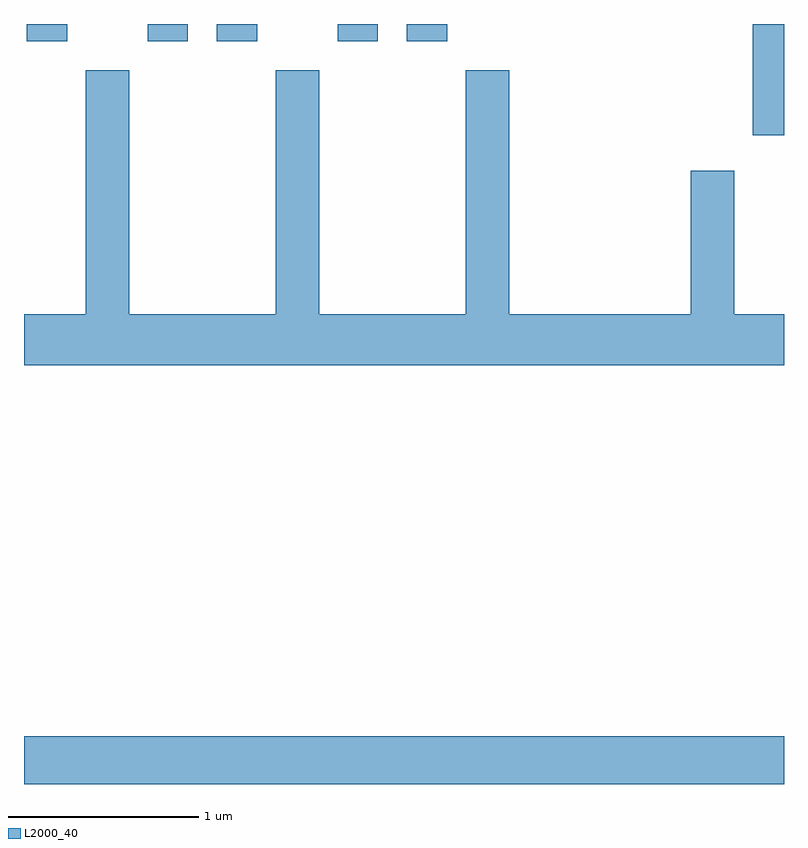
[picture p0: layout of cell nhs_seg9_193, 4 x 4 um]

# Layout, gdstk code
import gdstk
lib = gdstk.Library(unit=1e-6, precision=1e-09)
def R(c, l, rs):  # rectangles x0, y0, x1, y1
    for r in rs: c.add(gdstk.rectangle(r[:2], r[2:], *l))
def P(c, l, *ps):  # polygons
    for p in ps: c.add(gdstk.Polygon(p, *l))
L2000_40 = (2000, 40)

nhs_seg9_193 = lib.new_cell('nhs_seg9_193')
R(nhs_seg9_193, L2000_40, [(189.611,2058.432,193.611,2058.684), (193.446,2061.846,193.611,2062.432), (189.626,2062.341,189.839,2062.432), (190.261,2062.341,190.474,2062.432), (190.626,2062.341,190.839,2062.432), (191.261,2062.341,191.474,2062.432), (191.626,2062.341,191.839,2062.432)])
P(nhs_seg9_193, L2000_40, [(193.611,2060.904),(193.349,2060.904),(193.349,2061.659),(193.121,2061.659),(193.121,2060.904),(192.164,2060.904),(192.164,2062.189),(191.936,2062.189),(191.936,2060.904),(191.164,2060.904),(191.164,2062.189),(190.936,2062.189),(190.936,2060.904),(190.164,2060.904),(190.164,2062.189),(189.936,2062.189),(189.936,2060.904),(189.611,2060.904),(189.611,2060.636),(193.611,2060.636)])

lib.write_gds('nhs_seg9_193.gds')
